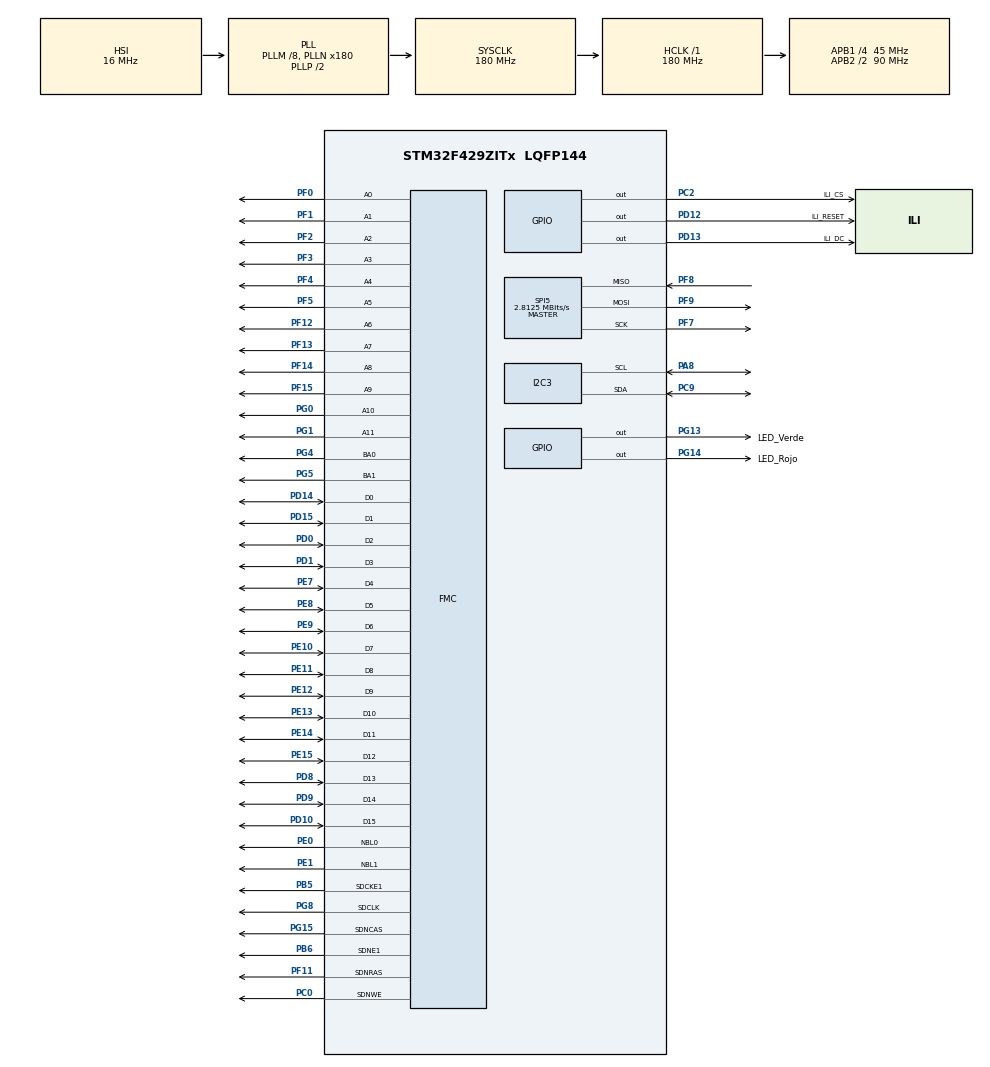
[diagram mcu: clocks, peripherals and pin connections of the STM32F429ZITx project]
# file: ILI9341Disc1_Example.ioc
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Dma.Request0=SPI5_TX
Dma.SPI5_TX.0.Direction=DMA_MEMORY_TO_PERIPH
Dma.SPI5_TX.0.FIFOMode=DMA_FIFOMODE_DISABLE
Dma.SPI5_TX.0.Instance=DMA2_Stream6
Dma.SPI5_TX.0.MemDataAlignment=DMA_MDATAALIGN_HALFWORD
Dma.SPI5_TX.0.MemInc=DMA_MINC_ENABLE
Dma.SPI5_TX.0.Mode=DMA_NORMAL
Dma.SPI5_TX.0.PeriphDataAlignment=DMA_PDATAALIGN_HALFWORD
Dma.SPI5_TX.0.PeriphInc=DMA_PINC_DISABLE
Dma.SPI5_TX.0.Priority=DMA_PRIORITY_HIGH
FMC.CASLatency2=FMC_SDRAM_CAS_LATENCY_3
FMC.ExitSelfRefreshDelay2=7
FMC.LoadToActiveDelay2=2
FMC.RCDDelay2=2
FMC.RPDelay1=2
FMC.RPDelay2=2
FMC.ReadPipeDelay1=FMC_SDRAM_RPIPE_DELAY_1
FMC.ReadPipeDelay2=FMC_SDRAM_RPIPE_DELAY_1
FMC.RowCycleDelay1=7
FMC.RowCycleDelay2=7
FMC.SDClockPeriod1=FMC_SDRAM_CLOCK_PERIOD_2
FMC.SDClockPeriod2=FMC_SDRAM_CLOCK_PERIOD_2
FMC.SelfRefreshTime2=4
FMC.WriteRecoveryTime2=3
Mcu.Family=STM32F4
Mcu.Name=STM32F429ZITx
Mcu.Package=LQFP144
NVIC.DMA2_Stream6_IRQn=true\:0\:0\:false\:false\:true\:false\:true\:true
NVIC.PriorityGroup=NVIC_PRIORITYGROUP_4
PA13.Mode=Serial_Wire
PA13.Signal=SYS_JTMS-SWDIO
PA14.Mode=Serial_Wire
PA14.Signal=SYS_JTCK-SWCLK
PA8.Mode=I2C
PA8.Signal=I2C3_SCL
PB5.Mode=SdramChipSelect2_2
PB5.Signal=FMC_SDCKE1
PB6.Mode=SdramChipSelect2_2
PB6.Signal=FMC_SDNE1
PC0.Signal=FMC_SDNWE
PC2.GPIO_Label=ILI_CS
PC2.Signal=GPIO_Output
PC9.Mode=I2C
PC9.Signal=I2C3_SDA
PD0.Signal=FMC_D2_DA2
PD1.Signal=FMC_D3_DA3
PD10.Signal=FMC_D15_DA15
PD12.GPIO_Label=ILI_RESET
PD12.PinState=GPIO_PIN_SET
PD12.Signal=GPIO_Output
PD13.GPIO_Label=ILI_DC
PD13.PinState=GPIO_PIN_SET
PD13.Signal=GPIO_Output
PD14.Signal=FMC_D0_DA0
PD15.Signal=FMC_D1_DA1
PD8.Signal=FMC_D13_DA13
PD9.Signal=FMC_D14_DA14
PE0.Signal=FMC_NBL0
PE1.Signal=FMC_NBL1
PE10.Signal=FMC_D7_DA7
PE11.Signal=FMC_D8_DA8
PE12.Signal=FMC_D9_DA9
PE13.Signal=FMC_D10_DA10
PE14.Signal=FMC_D11_DA11
PE15.Signal=FMC_D12_DA12
PE7.Signal=FMC_D4_DA4
PE8.Signal=FMC_D5_DA5
PE9.Signal=FMC_D6_DA6
PF0.Signal=FMC_A0
PF1.Signal=FMC_A1
PF11.Signal=FMC_SDNRAS
PF12.Signal=FMC_A6
PF13.Signal=FMC_A7
PF14.Signal=FMC_A8
PF15.Signal=FMC_A9
PF2.Signal=FMC_A2
PF3.Signal=FMC_A3
PF4.Signal=FMC_A4
PF5.Signal=FMC_A5
PF7.Mode=Full_Duplex_Master
PF7.Signal=SPI5_SCK
PF8.Mode=Full_Duplex_Master
PF8.Signal=SPI5_MISO
PF9.Mode=Full_Duplex_Master
PF9.Signal=SPI5_MOSI
PG0.Signal=FMC_A10
PG1.Signal=FMC_A11
PG13.GPIO_Label=LED_Verde
PG13.Signal=GPIO_Output
PG14.GPIO_Label=LED_Rojo
PG14.Signal=GPIO_Output
PG15.Signal=FMC_SDNCAS
PG4.Signal=FMC_A14_BA0
PG5.Signal=FMC_A15_BA1
PG8.Signal=FMC_SDCLK
PH0/OSC_IN.Mode=HSE-External-Oscillator
PH0/OSC_IN.Signal=RCC_OSC_IN
PH1/OSC_OUT.Mode=HSE-External-Oscillator
PH1/OSC_OUT.Signal=RCC_OSC_OUT
ProjectManager.HeapSize=0x200
ProjectManager.StackSize=0x400
ProjectManager.TargetToolchain=STM32CubeIDE
RCC.48MHZClocksFreq_Value=90000000
RCC.AHBFreq_Value=180000000
RCC.APB1CLKDivider=RCC_HCLK_DIV4
RCC.APB1Freq_Value=45000000
RCC.APB1TimFreq_Value=90000000
RCC.APB2CLKDivider=RCC_HCLK_DIV2
RCC.APB2Freq_Value=90000000
RCC.APB2TimFreq_Value=180000000
RCC.CortexFreq_Value=180000000
RCC.HCLKFreq_Value=180000000
RCC.HSE_VALUE=25000000
RCC.HSI_VALUE=16000000
RCC.LSE_VALUE=32768
RCC.PLLM=8
RCC.PLLN=180
RCC.SYSCLKFreq_VALUE=180000000
RCC.SYSCLKSource=RCC_SYSCLKSOURCE_PLLCLK
RCC.VCOOutputFreq_Value=360000000
SH.FMC_A0.0=FMC_A0,12b-sda2
SH.FMC_A1.0=FMC_A1,12b-sda2
SH.FMC_A10.0=FMC_A10,12b-sda2
SH.FMC_A11.0=FMC_A11,12b-sda2
SH.FMC_A14_BA0.0=FMC_BA0,FourSdramBanks2
SH.FMC_A15_BA1.0=FMC_BA1,FourSdramBanks2
SH.FMC_A2.0=FMC_A2,12b-sda2
SH.FMC_A3.0=FMC_A3,12b-sda2
SH.FMC_A4.0=FMC_A4,12b-sda2
SH.FMC_A5.0=FMC_A5,12b-sda2
SH.FMC_A6.0=FMC_A6,12b-sda2
SH.FMC_A7.0=FMC_A7,12b-sda2
SH.FMC_A8.0=FMC_A8,12b-sda2
SH.FMC_A9.0=FMC_A9,12b-sda2
SH.FMC_D0_DA0.0=FMC_D0,sd-16b-d2
SH.FMC_D10_DA10.0=FMC_D10,sd-16b-d2
SH.FMC_D11_DA11.0=FMC_D11,sd-16b-d2
SH.FMC_D12_DA12.0=FMC_D12,sd-16b-d2
SH.FMC_D13_DA13.0=FMC_D13,sd-16b-d2
SH.FMC_D14_DA14.0=FMC_D14,sd-16b-d2
SH.FMC_D15_DA15.0=FMC_D15,sd-16b-d2
SH.FMC_D1_DA1.0=FMC_D1,sd-16b-d2
SH.FMC_D2_DA2.0=FMC_D2,sd-16b-d2
SH.FMC_D3_DA3.0=FMC_D3,sd-16b-d2
SH.FMC_D4_DA4.0=FMC_D4,sd-16b-d2
SH.FMC_D5_DA5.0=FMC_D5,sd-16b-d2
SH.FMC_D6_DA6.0=FMC_D6,sd-16b-d2
SH.FMC_D7_DA7.0=FMC_D7,sd-16b-d2
SH.FMC_D8_DA8.0=FMC_D8,sd-16b-d2
SH.FMC_D9_DA9.0=FMC_D9,sd-16b-d2
SH.FMC_NBL0.0=FMC_NBL0,Sd2ByteEnable2
SH.FMC_NBL1.0=FMC_NBL1,Sd2ByteEnable2
SH.FMC_SDCLK.0=FMC_SDCLK,12b-sda2
SH.FMC_SDNCAS.0=FMC_SDNCAS,12b-sda2
SH.FMC_SDNRAS.0=FMC_SDNRAS,12b-sda2
SH.FMC_SDNWE.0=FMC_SDNWE,12b-sda2
SPI5.BaudRatePrescaler=SPI_BAUDRATEPRESCALER_32
SPI5.CalculateBaudRate=2.8125 MBits/s
SPI5.Direction=SPI_DIRECTION_2LINES
SPI5.Mode=SPI_MODE_MASTER
SPI5.VirtualType=VM_MASTER
VP_DMA2D_VS_DMA2D.Mode=DMA2D_Activate
board=custom

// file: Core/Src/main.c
/* USER CODE BEGIN Header */
/**
 ******************************************************************************
 * @file           : main.c
 * @brief          : Main program body
 ******************************************************************************
 * @attention
 *
 * Copyright (c) 2026 STMicroelectronics.
 * All rights reserved.
 *
 * This software is licensed under terms that can be found in the LICENSE file
 * in the root directory of this software component.
 * If no LICENSE file comes with this software, it is provided AS-IS.
 *
 ******************************************************************************
 */
/* USER CODE END Header */
#include "main.h"

/* USER CODE BEGIN Includes */
#include "ILI9341_Disc1.h"
#include "ErisRudeus.h"
/* USER CODE END Includes */

/* USER CODE BEGIN PD */
/* -- Parámetros de la batería de pruebas -- */
#define TEST_TOUCH_MS   10000U   /**< Ventana interactiva de ILI9341_TestTouch()                    */
#define TEST_ICON_W        48U   /**< Ancho del icono de prueba para DisplayImage() y BlitImage()   */
#define TEST_ICON_H        48U   /**< Alto del icono de prueba                                      */

/* USER CODE END PD */

/* USER CODE BEGIN PM */
#define ILI_CHECK(x)  do { if ((x) != ILI9341_OK) { Error_Handler(); } } while (0)
/* Para los tests de error: la llamada debe devolver exactamente el estado esperado */
#define ILI_EXPECT(x, st)  do { if ((x) != (st)) { Error_Handler(); } } while (0)

/* USER CODE END PM */

DMA2D_HandleTypeDef hdma2d;

I2C_HandleTypeDef hi2c3;

SPI_HandleTypeDef hspi5;
DMA_HandleTypeDef hdma_spi5_tx;

SDRAM_HandleTypeDef hsdram2;

/* USER CODE BEGIN PV */
ILI9341_Status_t status;

/* Icono de prueba (degradado RGB565) para DisplayImage() y BlitImage(); lo rellena ILI9341_TestMakeIcon() */
static uint16_t Test_Icon[TEST_ICON_W * TEST_ICON_H];

/* Bitmaps 1bpp (MSB primero, (w + 7) / 8 bytes por fila) */

/* Carita 16x16: ancho múltiplo de 8 -> 2 bytes por fila */
static const uint8_t bmpSmiley[16U * 2U] = {
	0x07, 0xE0,  0x18, 0x18,  0x20, 0x04,  0x40, 0x02,
	0x4C, 0x32,  0x8C, 0x31,  0x80, 0x01,  0x80, 0x01,
	0x80, 0x01,  0x90, 0x09,  0x88, 0x11,  0x47, 0xE2,
	0x40, 0x02,  0x20, 0x04,  0x18, 0x18,  0x07, 0xE0,
};

/* "F" de 12x12: asimétrica para detectar espejos/rotaciones. Ancho no múltiplo
 * de 8 -> 2 bytes por fila; los 4 bits de relleno (0x0F) van en 1 a propósito:
 * si aparecen columnas extra a la derecha de la F, el relleno no se ignora. */
static const uint8_t bmpF[12U * 2U] = {
	0xFF, 0xFF,
	0xFF, 0xFF,
	0xC0, 0x0F,
	0xC0, 0x0F,
	0xFF, 0x0F,
	0xFF, 0x0F,
	0xC0, 0x0F,
	0xC0, 0x0F,
	0xC0, 0x0F,
	0xC0, 0x0F,
	0xC0, 0x0F,
	0xC0, 0x0F,
};
/* USER CODE END PV */

void SystemClock_Config(void);
static void MX_GPIO_Init(void);
static void MX_DMA_Init(void);
static void MX_DMA2D_Init(void);
static void MX_FMC_Init(void);
static void MX_I2C3_Init(void);
static void MX_SPI5_Init(void);
/* USER CODE BEGIN PFP */
static void ILI9341_TestSuite(void);
static void ILI9341_TestMakeIcon(void);
static void ILI9341_TestFonts(void);
static void ILI9341_TestPutc(void);
static void ILI9341_TestTexto(void);
static void ILI9341_TestPixeles(void);
static void ILI9341_TestLineas(void);
static void ILI9341_TestRectangulos(void);
static void ILI9341_TestTriangulos(void);
static void ILI9341_TestCirculos(void);
static void ILI9341_TestElipses(void);
static void ILI9341_TestArc(void);
static void ILI9341_TestBitmap(void);
static void ILI9341_TestRotacion(void);
static void ILI9341_TestImagen(void);
static void ILI9341_TestImageBuffer(void);
static void ILI9341_TestBitmapImageBuffer(void);
static void ILI9341_TestTouch(void);
static void ILI9341_TestErrores(void);
static void ILI9341_TestPreInit(void);
static void ILI9341_TestDeInit(void);
/* USER CODE END PFP */

int main(void)
{

  /* MCU Configuration--------------------------------------------------------*/

  /* Reset of all peripherals, Initializes the Flash interface and the Systick. */
  HAL_Init();

  /* Configure the system clock */
  SystemClock_Config();

  /* Initialize all configured peripherals */
  MX_GPIO_Init();
  MX_DMA_Init();
  MX_DMA2D_Init();
  MX_FMC_Init();
  MX_I2C3_Init();
  MX_SPI5_Init();
  /* USER CODE BEGIN 2 */
  ILI9341_TestPreInit();

  /* SPI5 + I2C3 + SDRAM + DMA2D: el SPI debe llegar lento (2.8 Mbit/s), Init lo sube solo */
  status = ILI9341_Init(&hspi5, &hi2c3, &hsdram2, &hdma2d);
  if (status != ILI9341_OK)
  {
	  Error_Handler();
  }
  else
  {
	  HAL_GPIO_WritePin(LED_Verde_GPIO_Port, LED_Verde_Pin, GPIO_PIN_SET);
  }
  /* USER CODE END 2 */

  /* Infinite loop */
  /* USER CODE BEGIN WHILE */
  while (1)
  {
	  ILI9341_TestSuite();
    /* USER CODE END WHILE */

  }
}

void SystemClock_Config(void)
{
  RCC_OscInitTypeDef RCC_OscInitStruct = {0};
  RCC_ClkInitTypeDef RCC_ClkInitStruct = {0};

  /** Configure the main internal regulator output voltage
  */
  __HAL_RCC_PWR_CLK_ENABLE();
  __HAL_PWR_VOLTAGESCALING_CONFIG(PWR_REGULATOR_VOLTAGE_SCALE1);

  /** Initializes the RCC Oscillators according to the specified parameters
  * in the RCC_OscInitTypeDef structure.
  */
  RCC_OscInitStruct.OscillatorType = RCC_OSCILLATORTYPE_HSI;
  RCC_OscInitStruct.HSIState = RCC_HSI_ON;
  RCC_OscInitStruct.HSICalibrationValue = RCC_HSICALIBRATION_DEFAULT;
  RCC_OscInitStruct.PLL.PLLState = RCC_PLL_ON;
  RCC_OscInitStruct.PLL.PLLSource = RCC_PLLSOURCE_HSI;
  RCC_OscInitStruct.PLL.PLLM = 8;
  RCC_OscInitStruct.PLL.PLLN = 180;
  RCC_OscInitStruct.PLL.PLLP = RCC_PLLP_DIV2;
  RCC_OscInitStruct.PLL.PLLQ = 4;
  if (HAL_RCC_OscConfig(&RCC_OscInitStruct) != HAL_OK)
  {
    Error_Handler();
  }

  /** Activate the Over-Drive mode
  */
  if (HAL_PWREx_EnableOverDrive() != HAL_OK)
  {
    Error_Handler();
  }

  /** Initializes the CPU, AHB and APB buses clocks
  */
  RCC_ClkInitStruct.ClockType = RCC_CLOCKTYPE_HCLK|RCC_CLOCKTYPE_SYSCLK
                              |RCC_CLOCKTYPE_PCLK1|RCC_CLOCKTYPE_PCLK2;
  RCC_ClkInitStruct.SYSCLKSource = RCC_SYSCLKSOURCE_PLLCLK;
  RCC_ClkInitStruct.AHBCLKDivider = RCC_SYSCLK_DIV1;
  RCC_ClkInitStruct.APB1CLKDivider = RCC_HCLK_DIV4;
  RCC_ClkInitStruct.APB2CLKDivider = RCC_HCLK_DIV2;

  if (HAL_RCC_ClockConfig(&RCC_ClkInitStruct, FLASH_LATENCY_5) != HAL_OK)
  {
    Error_Handler();
  }
}

static void MX_DMA2D_Init(void)
{

  hdma2d.Instance = DMA2D;
  hdma2d.Init.Mode = DMA2D_M2M;
  hdma2d.Init.ColorMode = DMA2D_OUTPUT_ARGB8888;
  hdma2d.Init.OutputOffset = 0;
  hdma2d.LayerCfg[1].InputOffset = 0;
  hdma2d.LayerCfg[1].InputColorMode = DMA2D_INPUT_ARGB8888;
  hdma2d.LayerCfg[1].AlphaMode = DMA2D_NO_MODIF_ALPHA;
  hdma2d.LayerCfg[1].InputAlpha = 0;
  if (HAL_DMA2D_Init(&hdma2d) != HAL_OK)
  {
    Error_Handler();
  }
  if (HAL_DMA2D_ConfigLayer(&hdma2d, 1) != HAL_OK)
  {
    Error_Handler();
  }

}

static void MX_I2C3_Init(void)
{

  hi2c3.Instance = I2C3;
  hi2c3.Init.ClockSpeed = 100000;
  hi2c3.Init.DutyCycle = I2C_DUTYCYCLE_2;
  hi2c3.Init.OwnAddress1 = 0;
  hi2c3.Init.AddressingMode = I2C_ADDRESSINGMODE_7BIT;
  hi2c3.Init.DualAddressMode = I2C_DUALADDRESS_DISABLE;
  hi2c3.Init.OwnAddress2 = 0;
  hi2c3.Init.GeneralCallMode = I2C_GENERALCALL_DISABLE;
  hi2c3.Init.NoStretchMode = I2C_NOSTRETCH_DISABLE;
  if (HAL_I2C_Init(&hi2c3) != HAL_OK)
  {
    Error_Handler();
  }

  /** Configure Analogue filter
  */
  if (HAL_I2CEx_ConfigAnalogFilter(&hi2c3, I2C_ANALOGFILTER_ENABLE) != HAL_OK)
  {
    Error_Handler();
  }

  /** Configure Digital filter
  */
  if (HAL_I2CEx_ConfigDigitalFilter(&hi2c3, 0) != HAL_OK)
  {
    Error_Handler();
  }

}

static void MX_SPI5_Init(void)
{

  /* SPI5 parameter configuration*/
  hspi5.Instance = SPI5;
  hspi5.Init.Mode = SPI_MODE_MASTER;
  hspi5.Init.Direction = SPI_DIRECTION_2LINES;
  hspi5.Init.DataSize = SPI_DATASIZE_8BIT;
  hspi5.Init.CLKPolarity = SPI_POLARITY_LOW;
  hspi5.Init.CLKPhase = SPI_PHASE_1EDGE;
  hspi5.Init.NSS = SPI_NSS_SOFT;
  hspi5.Init.BaudRatePrescaler = SPI_BAUDRATEPRESCALER_32;
  hspi5.Init.FirstBit = SPI_FIRSTBIT_MSB;
  hspi5.Init.TIMode = SPI_TIMODE_DISABLE;
  hspi5.Init.CRCCalculation = SPI_CRCCALCULATION_DISABLE;
  hspi5.Init.CRCPolynomial = 10;
  if (HAL_SPI_Init(&hspi5) != HAL_OK)
  {
    Error_Handler();
  }

}

static void MX_DMA_Init(void)
{

  /* DMA controller clock enable */
  __HAL_RCC_DMA2_CLK_ENABLE();

  /* DMA interrupt init */
  /* DMA2_Stream6_IRQn interrupt configuration */
  HAL_NVIC_SetPriority(DMA2_Stream6_IRQn, 0, 0);
  HAL_NVIC_EnableIRQ(DMA2_Stream6_IRQn);

}

/* FMC initialization function */
static void MX_FMC_Init(void)
{

  FMC_SDRAM_TimingTypeDef SdramTiming = {0};

  /** Perform the SDRAM2 memory initialization sequence
  */
  hsdram2.Instance = FMC_SDRAM_DEVICE;
  /* hsdram2.Init */
  hsdram2.Init.SDBank = FMC_SDRAM_BANK2;
  hsdram2.Init.ColumnBitsNumber = FMC_SDRAM_COLUMN_BITS_NUM_8;
  hsdram2.Init.RowBitsNumber = FMC_SDRAM_ROW_BITS_NUM_12;
  hsdram2.Init.MemoryDataWidth = FMC_SDRAM_MEM_BUS_WIDTH_16;
  hsdram2.Init.InternalBankNumber = FMC_SDRAM_INTERN_BANKS_NUM_4;
  hsdram2.Init.CASLatency = FMC_SDRAM_CAS_LATENCY_3;
  hsdram2.Init.WriteProtection = FMC_SDRAM_WRITE_PROTECTION_DISABLE;
  hsdram2.Init.SDClockPeriod = FMC_SDRAM_CLOCK_PERIOD_2;
  hsdram2.Init.ReadBurst = FMC_SDRAM_RBURST_DISABLE;
  hsdram2.Init.ReadPipeDelay = FMC_SDRAM_RPIPE_DELAY_1;
  /* SdramTiming */
  SdramTiming.LoadToActiveDelay = 2;
  SdramTiming.ExitSelfRefreshDelay = 7;
  SdramTiming.SelfRefreshTime = 4;
  SdramTiming.RowCycleDelay = 7;
  SdramTiming.WriteRecoveryTime = 3;
  SdramTiming.RPDelay = 2;
  SdramTiming.RCDDelay = 2;

  if (HAL_SDRAM_Init(&hsdram2, &SdramTiming) != HAL_OK)
  {
    Error_Handler( );
  }

}

static void MX_GPIO_Init(void)
{
  GPIO_InitTypeDef GPIO_InitStruct = {0};

  /* GPIO Ports Clock Enable */
  __HAL_RCC_GPIOF_CLK_ENABLE();
  __HAL_RCC_GPIOH_CLK_ENABLE();
  __HAL_RCC_GPIOC_CLK_ENABLE();
  __HAL_RCC_GPIOG_CLK_ENABLE();
  __HAL_RCC_GPIOE_CLK_ENABLE();
  __HAL_RCC_GPIOD_CLK_ENABLE();
  __HAL_RCC_GPIOA_CLK_ENABLE();
  __HAL_RCC_GPIOB_CLK_ENABLE();

  /*Configure GPIO pin Output Level */
  HAL_GPIO_WritePin(ILI_CS_GPIO_Port, ILI_CS_Pin, GPIO_PIN_RESET);

  /*Configure GPIO pin Output Level */
  HAL_GPIO_WritePin(GPIOD, ILI_RESET_Pin|ILI_DC_Pin, GPIO_PIN_SET);

  /*Configure GPIO pin Output Level */
  HAL_GPIO_WritePin(GPIOG, LED_Verde_Pin|LED_Rojo_Pin, GPIO_PIN_RESET);

  /*Configure GPIO pin : ILI_CS_Pin */
  GPIO_InitStruct.Pin = ILI_CS_Pin;
  GPIO_InitStruct.Mode = GPIO_MODE_OUTPUT_PP;
  GPIO_InitStruct.Pull = GPIO_NOPULL;
  GPIO_InitStruct.Speed = GPIO_SPEED_FREQ_LOW;
  HAL_GPIO_Init(ILI_CS_GPIO_Port, &GPIO_InitStruct);

  /*Configure GPIO pins : ILI_RESET_Pin ILI_DC_Pin */
  GPIO_InitStruct.Pin = ILI_RESET_Pin|ILI_DC_Pin;
  GPIO_InitStruct.Mode = GPIO_MODE_OUTPUT_PP;
  GPIO_InitStruct.Pull = GPIO_NOPULL;
  GPIO_InitStruct.Speed = GPIO_SPEED_FREQ_LOW;
  HAL_GPIO_Init(GPIOD, &GPIO_InitStruct);

  /*Configure GPIO pins : LED_Verde_Pin LED_Rojo_Pin */
  GPIO_InitStruct.Pin = LED_Verde_Pin|LED_Rojo_Pin;
  GPIO_InitStruct.Mode = GPIO_MODE_OUTPUT_PP;
  GPIO_InitStruct.Pull = GPIO_NOPULL;
  GPIO_InitStruct.Speed = GPIO_SPEED_FREQ_LOW;
  HAL_GPIO_Init(GPIOG, &GPIO_InitStruct);

}

/* USER CODE BEGIN 4 */

static void ILI9341_TestSuite(void)
{
	ILI9341_TestFonts();
	HAL_Delay(2000);

	ILI9341_TestPutc();
	HAL_Delay(2000);

	ILI9341_TestTexto();
	HAL_Delay(2000);

	ILI9341_TestPixeles();
	HAL_Delay(2000);

	ILI9341_TestLineas();
	HAL_Delay(2000);

	ILI9341_TestRectangulos();
	HAL_Delay(2000);

	ILI9341_TestTriangulos();
	HAL_Delay(2000);

	ILI9341_TestCirculos();
	HAL_Delay(2000);

	ILI9341_TestElipses();
	HAL_Delay(2000);

	ILI9341_TestArc();
	HAL_Delay(2000);

	ILI9341_TestBitmap();
	HAL_Delay(2000);

	ILI9341_TestRotacion();
	HAL_Delay(2000);

	ILI9341_TestImagen();
	HAL_Delay(2000);

	ILI9341_TestImageBuffer();
	HAL_Delay(2000);

	ILI9341_TestBitmapImageBuffer();
	HAL_Delay(2000);

	ILI9341_TestTouch();
	HAL_Delay(2000);

	ILI9341_TestErrores();
	HAL_Delay(2000);

	ILI9341_TestDeInit();
	HAL_Delay(2000);
}

static void ILI9341_TestMakeIcon(void)
{
	/* Degradado RGB565 de 48x48: R crece con x, G con y, B en diagonal */
	for (uint16_t y = 0; y < TEST_ICON_H; y++)
	{
		for (uint16_t x = 0; x < TEST_ICON_W; x++)
		{
			Test_Icon[(y * TEST_ICON_W) + x] =
					ILI9341_Color565((uint8_t)(x * 5U), (uint8_t)(y * 5U), (uint8_t)(((x + y) * 2U) & 0xFFU));
		}
	}
}

static void ILI9341_TestFonts(void)
{
	const uint16_t bg = ILI9341_COLOR_BLACK;
	uint16_t tw, th;

	/* -- Texto con las tres fuentes y colores distintos (16x26 cabe 15 caracteres en 240 px) -- */
	ILI_CHECK(ILI9341_Fill(bg));
	ILI_CHECK(ILI9341_Puts(0, 0, "ILI9341 TEST", &LCD_Font_16x26, ILI9341_COLOR_WHITE, bg));
	ILI_CHECK(ILI9341_Puts(0, 34, "Font 11x18", &LCD_Font_11x18, ILI9341_COLOR_YELLOW, bg));
	ILI_CHECK(ILI9341_Puts(0, 60, "Font 7x10", &LCD_Font_7x10, ILI9341_COLOR_CYAN, bg));

	/* -- '\n' baja una línea (FontHeight + 1) y vuelve a la columna inicial -- */
	ILI_CHECK(ILI9341_Puts(0, 76, "ABCDEFGHIJKLMNOPQRSTUVWXYZ\nabcdefghijklmnopqrstuvwxyz\n0123456789 !?#$%&()*+-=",
						   &LCD_Font_7x10, ILI9341_COLOR_WHITE, bg));

	/* -- Sin '\n': el texto salta de línea solo al llegar al borde derecho (caben 21 caracteres de 11 px) -- */
	ILI_CHECK(ILI9341_Puts(0, 120, "0123456789ABCDEFGHIJKLMNOPQRSTUVWXYZ", &LCD_Font_11x18, ILI9341_COLOR_GREEN, bg));

	/* Esquina inferior derecha: verifica GetStringSize y los bordes */
	ILI9341_GetStringSize("Fin", &LCD_Font_11x18, &tw, &th);
	ILI_CHECK(ILI9341_Puts(ILI9341_WIDTH - tw, ILI9341_HEIGHT - th, "Fin",
						   &LCD_Font_11x18, ILI9341_COLOR_BLACK, ILI9341_COLOR_GREEN));
}

static void ILI9341_TestPutc(void)
{
	const uint16_t bg = ILI9341_COLOR_BLACK;
	const uint16_t w  = ILI9341_WIDTH;
	const uint16_t h  = ILI9341_HEIGHT;
	LCD_FontDef_t* f  = &LCD_Font_11x18;

	/* -- Caracteres sueltos colocados a mano, avanzando FontWidth columnas -- */
	ILI_CHECK(ILI9341_Fill(bg));
	for (char c = 'A'; c <= 'J'; c++)
	{
		ILI_CHECK(ILI9341_Putc((uint16_t)(c - 'A') * f->FontWidth, 0, c, f, ILI9341_COLOR_WHITE, bg));
	}

	/* -- Salto automático: la celda no cabe a 3 px del borde derecho -> sale en x = 0, y = 30 + FontHeight -- */
	ILI_CHECK(ILI9341_Putc(w - 3, 30, 'W', f, ILI9341_COLOR_YELLOW, bg));

	/* -- Última celda que cabe, pegada a la esquina inferior derecha -- */
	ILI_CHECK(ILI9341_Putc(w - f->FontWidth, h - f->FontHeight, 'Z', f, ILI9341_COLOR_BLACK, ILI9341_COLOR_GREEN));

	/* -- No imprimibles: se ignoran y devuelven OK sin pintar (no debe verse ningún bloque rojo) -- */
	ILI_CHECK(ILI9341_Putc(0, 100, '\n', f, ILI9341_COLOR_RED, ILI9341_COLOR_RED));
	ILI_CHECK(ILI9341_Putc(0, 100, (char)127, f, ILI9341_COLOR_RED, ILI9341_COLOR_RED));

	/* -- Errores: fuente NULL -- */
	ILI_EXPECT(ILI9341_Putc(0, 0, 'X', NULL, ILI9341_COLOR_RED, bg), ILI9341_INVALID_PARAM);
}

static void ILI9341_TestTexto(void)
{
	const uint16_t w  = ILI9341_WIDTH;
	const uint16_t bg = ILI9341_COLOR_WHITE;
	LCD_FontDef_t* f  = &LCD_Font_11x18;
	uint16_t tw, th;

	ILI_CHECK(ILI9341_Fill(bg));

	/* -- Printf con argumentos variádicos (sin %f: el proyecto no enlaza printf de float) -- */
	ILI_CHECK(ILI9341_Printf(4, 4, f, ILI9341_COLOR_BLACK, bg, "%s = %d (0x%04X)", "id", -42, 0xBEEFU));

	/* -- GetStringSize: el recuadro rojo debe rodear la cadena sin dejar holgura -- */
	ILI9341_GetStringSize("Hola ILI9341", &LCD_Font_16x26, &tw, &th);
	ILI_CHECK(ILI9341_Puts(4, 40, "Hola ILI9341", &LCD_Font_16x26, ILI9341_COLOR_BLUE, bg));
	ILI_CHECK(ILI9341_DrawRectangle(3, 39, 4 + tw, 40 + th, ILI9341_COLOR_RED));
	ILI_CHECK(ILI9341_Printf(4, 76, f, ILI9341_COLOR_DARKRED, bg, "size = %u x %u px", tw, th));

	/* -- PutsAligned: las tres alineaciones dentro de la región [4, w - 5] (recuadro gris) -- */
	ILI_CHECK(ILI9341_DrawRectangle(3, 104, w - 4, 182, ILI9341_COLOR_GRAY));
	ILI_CHECK(ILI9341_PutsAligned(4, w - 5, 108, ILI9341_ALIGN_LEFT,   "LEFT",   f, ILI9341_COLOR_BLACK, bg));
	ILI_CHECK(ILI9341_PutsAligned(4, w - 5, 132, ILI9341_ALIGN_CENTER, "CENTER", f, ILI9341_COLOR_BLACK, bg));
	ILI_CHECK(ILI9341_PutsAligned(4, w - 5, 156, ILI9341_ALIGN_RIGHT,  "RIGHT",  f, ILI9341_COLOR_BLACK, bg));

	/* -- PrintfAligned: formato + alineación -- */
	ILI_CHECK(ILI9341_PrintfAligned(4, w - 5, 200, ILI9341_ALIGN_CENTER, f, ILI9341_COLOR_DARKGREEN, bg,
									"paso %u/%u", 1U, 3U));
	ILI_CHECK(ILI9341_PrintfAligned(4, w - 5, 226, ILI9341_ALIGN_RIGHT, f, ILI9341_COLOR_DARKGREEN, bg,
									"listo %u%%", 100U));

	/* -- Errores: región invertida (x1 < x0), cadena NULL y formato NULL -- */
	ILI_EXPECT(ILI9341_PutsAligned(100, 10, 270, ILI9341_ALIGN_LEFT, "X", f, ILI9341_COLOR_BLACK, bg), ILI9341_INVALID_PARAM);
	ILI_EXPECT(ILI9341_PrintfAligned(100, 10, 270, ILI9341_ALIGN_LEFT, f, ILI9341_COLOR_BLACK, bg, "X"), ILI9341_INVALID_PARAM);
	ILI_EXPECT(ILI9341_PutsAligned(4, w - 5, 270, ILI9341_ALIGN_LEFT, NULL, f, ILI9341_COLOR_BLACK, bg), ILI9341_INVALID_PARAM);
	ILI_EXPECT(ILI9341_Printf(4, 270, f, ILI9341_COLOR_BLACK, bg, NULL), ILI9341_INVALID_PARAM);
}

static void ILI9341_TestPixeles(void)
{
	const uint16_t w = ILI9341_WIDTH;
	const uint16_t h = ILI9341_HEIGHT;

	/* -- Rejilla de puntos cada 8 px con un degradado generado con Color565 (R crece con x, G con y) -- */
	ILI_CHECK(ILI9341_Fill(ILI9341_COLOR_BLACK));
	for (uint16_t y = 0; y < h; y += 8)
	{
		for (uint16_t x = 0; x < w; x += 8)
		{
			ILI_CHECK(ILI9341_DrawPixel(x, y, ILI9341_Color565((uint8_t)x, (uint8_t)y, 128U)));
		}
	}

	/* -- Un píxel blanco en cada esquina: deben verse los cuatro, pegados al borde -- */
	ILI_CHECK(ILI9341_DrawPixel(0, 0, ILI9341_COLOR_WHITE));
	ILI_CHECK(ILI9341_DrawPixel(w - 1, 0, ILI9341_COLOR_WHITE));
	ILI_CHECK(ILI9341_DrawPixel(0, h - 1, ILI9341_COLOR_WHITE));
	ILI_CHECK(ILI9341_DrawPixel(w - 1, h - 1, ILI9341_COLOR_WHITE));
}

static void ILI9341_TestLineas(void)
{
	const uint16_t w = ILI9341_WIDTH;
	const uint16_t h = ILI9341_HEIGHT;

	/* -- Lineas: marco, diagonales y ejes centrales -- */
	ILI_CHECK(ILI9341_Fill(ILI9341_COLOR_BLACK));
	ILI_CHECK(ILI9341_DrawRectangle(0, 0, w - 1, h - 1, ILI9341_COLOR_WHITE));
	ILI_CHECK(ILI9341_DrawLine(0, 0, w - 1, h - 1, ILI9341_COLOR_RED));
	ILI_CHECK(ILI9341_DrawLine(0, h - 1, w - 1, 0, ILI9341_COLOR_GREEN));
	ILI_CHECK(ILI9341_DrawFastHLine(0, h / 2, w, ILI9341_COLOR_BLUE));
	ILI_CHECK(ILI9341_DrawFastVLine(w / 2, 0, h, ILI9341_COLOR_YELLOW));

	/* -- Líneas con grosor: horizontal, vertical y diagonal -- */
	ILI_CHECK(ILI9341_DrawThickLine(20, 40, w - 21, 40, 8, ILI9341_COLOR_ORANGE));
	ILI_CHECK(ILI9341_DrawThickLine(30, 70, 30, h - 70, 8, ILI9341_COLOR_PINK));
	ILI_CHECK(ILI9341_DrawThickLine(50, h - 40, w - 30, h / 2 + 40, 12, ILI9341_COLOR_GOLD));

	/* -- Recorte: línea que sobresale 20 px por cada lado y línea con ancho negativo (sin error) -- */
	ILI_CHECK(ILI9341_DrawFastHLine(-20, h / 4, w + 40, ILI9341_COLOR_MAGENTA));
	ILI_CHECK(ILI9341_DrawFastHLine(w - 1, 3 * h / 4, -(int16_t)w, ILI9341_COLOR_CYAN));
	ILI_CHECK(ILI9341_DrawFastVLine(w / 4, -20, h + 40, ILI9341_COLOR_LIME));
	ILI_CHECK(ILI9341_DrawFastVLine(3 * w / 4, h - 1, -(int16_t)h, ILI9341_COLOR_VIOLET));
}

static void ILI9341_TestRectangulos(void)
{
	const uint16_t w  = ILI9341_WIDTH;
	const uint16_t h  = ILI9341_HEIGHT;
	const uint16_t cx = w / 2;
	const uint16_t cy = h / 2;

	/* -- Rectangulos en cuatro cuadrantes que tocan los bordes (esquinas inclusivas x0, y0, x1, y1):
	 *    contorno arriba izq., relleno arriba der., redondeado abajo izq. y redondeado relleno abajo der. -- */
	ILI_CHECK(ILI9341_Fill(ILI9341_COLOR_BLACK));
	ILI_CHECK(ILI9341_DrawRectangle(0, 0, cx - 5, cy - 5, ILI9341_COLOR_WHITE));
	ILI_CHECK(ILI9341_DrawFilledRectangle(cx + 4, 0, w - 1, cy - 5, ILI9341_COLOR_RED));
	ILI_CHECK(ILI9341_DrawRoundRect(0, cy + 4, cx - 5, h - 1, 20, ILI9341_COLOR_GREEN));
	ILI_CHECK(ILI9341_DrawFilledRoundRect(cx + 4, cy + 4, w - 1, h - 1, 20, ILI9341_COLOR_BLUE));

	/* -- Radios especiales: r = 0 equivale a DrawRectangle (marco blanco dentro del rojo) y un radio mayor
	 *    que la mitad del lado menor se recorta solo (queda una píldora dentro del contorno blanco) -- */
	ILI_CHECK(ILI9341_DrawRoundRect(cx + 14, 10, w - 11, cy - 15, 0, ILI9341_COLOR_WHITE));
	ILI_CHECK(ILI9341_DrawFilledRoundRect(10, 50, cx - 15, 100, 100, ILI9341_COLOR_TEAL));
}

static void ILI9341_TestTriangulos(void)
{
	const uint16_t w  = ILI9341_WIDTH;
	const uint16_t h  = ILI9341_HEIGHT;
	const uint16_t cy = h / 2;

	/* -- Triangulos: contorno arriba, relleno abajo (vértices en los bordes) -- */
	ILI_CHECK(ILI9341_Fill(ILI9341_COLOR_BLACK));
	ILI_CHECK(ILI9341_DrawTriangle(w / 2, 0, 0, cy - 10, w - 1, cy - 10, ILI9341_COLOR_WHITE));
	ILI_CHECK(ILI9341_DrawFilledTriangle(w / 2, cy + 10, 0, h - 1, w - 1, h - 1, ILI9341_COLOR_MAGENTA));

	/* -- Triángulo degenerado (vértices alineados): se dibuja como una línea y no debe fallar -- */
	ILI_CHECK(ILI9341_DrawFilledTriangle(0, cy, w / 2, cy, w - 1, cy, ILI9341_COLOR_CYAN));
}

static void ILI9341_TestCirculos(void)
{
	const uint16_t w = ILI9341_WIDTH;
	const uint16_t h = ILI9341_HEIGHT;
	const int16_t  r = w / 4 - 3;

	/* -- Circulos: contorno a la izquierda (toca el borde izq.), relleno a la derecha (toca el borde der.) -- */
	ILI_CHECK(ILI9341_Fill(ILI9341_COLOR_BLACK));
	ILI_CHECK(ILI9341_DrawCircle(r, h / 4, r, ILI9341_COLOR_WHITE));
	ILI_CHECK(ILI9341_DrawFilledCircle(w - 1 - r, h / 4, r, ILI9341_COLOR_ORANGE));

	/* -- Anillos concéntricos y radio 0 (no debe colgarse ni fallar) -- */
	for (int16_t rr = 10; rr <= 50; rr += 10)
	{
		ILI_CHECK(ILI9341_DrawCircle(w / 2, 3 * h / 4, rr, ILI9341_Color565((uint8_t)(rr * 5), (uint8_t)(255 - rr * 5), 128U)));
	}
	ILI_CHECK(ILI9341_DrawFilledCircle(w / 2, 3 * h / 4, 0, ILI9341_COLOR_RED));
}

static void ILI9341_TestElipses(void)
{
	const uint16_t w = ILI9341_WIDTH;
	const uint16_t h = ILI9341_HEIGHT;

	const int16_t  rx = w / 4 - 3;
	const int16_t  ry = h / 2 - 1;

	/* -- Elipses: contorno a la izquierda, relleno a la derecha (tocan bordes laterales, superior e inferior) -- */
	ILI_CHECK(ILI9341_Fill(ILI9341_COLOR_BLACK));
	ILI_CHECK(ILI9341_DrawEllipse(rx, h / 2, rx, ry, ILI9341_COLOR_WHITE));
	ILI_CHECK(ILI9341_DrawFilledEllipse(w - 1 - rx, h / 2, rx, ry, ILI9341_COLOR_CYAN));
}

static void ILI9341_TestArc(void)
{
	const uint16_t w = ILI9341_WIDTH;
	const uint16_t h = ILI9341_HEIGHT;

	const int16_t  r1 = w / 4 - 3;
	const int16_t  r2 = r1 / 2;

	/* -- Arcos: contorno a la izquierda (toca el borde izq.), relleno a la derecha (toca el borde der.) -- */
	ILI_CHECK(ILI9341_Fill(ILI9341_COLOR_BLACK));
	ILI_CHECK(ILI9341_DrawArc(r1, h / 2, r1, r2, 0.0f, 270.0f, ILI9341_COLOR_WHITE));
	ILI_CHECK(ILI9341_DrawFilledArc(w - 1 - r1, h / 2, r1, r2, 0.0f, 270.0f, ILI9341_COLOR_GREEN));
}

static void ILI9341_TestBitmap(void)
{
	static const uint16_t colores[] = {
		ILI9341_COLOR_YELLOW, ILI9341_COLOR_RED, ILI9341_COLOR_LIME,
		ILI9341_COLOR_CYAN, ILI9341_COLOR_MAGENTA, ILI9341_COLOR_ORANGE
	};
	const uint16_t w  = ILI9341_WIDTH;
	const uint16_t h  = ILI9341_HEIGHT;
	const uint16_t bw = 12;
	const uint16_t bh = 12;

	/* -- Bitmaps "F": negro sobre blanco en las 4 esquinas (tocan los bordes). A diferencia de otras
	 *    librerías, el fondo es opaco: los bits en 0 se pintan con el color de fondo -- */
	ILI_CHECK(ILI9341_Fill(ILI9341_COLOR_WHITE));
	ILI_CHECK(ILI9341_DrawBitmap1bpp(0, 0, bw, bh, bmpF, ILI9341_COLOR_BLACK, ILI9341_COLOR_WHITE));
	ILI_CHECK(ILI9341_DrawBitmap1bpp(w - bw, 0, bw, bh, bmpF, ILI9341_COLOR_BLACK, ILI9341_COLOR_WHITE));
	ILI_CHECK(ILI9341_DrawBitmap1bpp(0, h - bh, bw, bh, bmpF, ILI9341_COLOR_BLACK, ILI9341_COLOR_WHITE));
	ILI_CHECK(ILI9341_DrawBitmap1bpp(w - bw, h - bh, bw, bh, bmpF, ILI9341_COLOR_BLACK, ILI9341_COLOR_WHITE));

	/* -- Recorte: a medio salir por la derecha y por abajo (sin error) -- */
	ILI_CHECK(ILI9341_DrawBitmap1bpp(w - bw / 2, h / 2, bw, bh, bmpF, ILI9341_COLOR_BLACK, ILI9341_COLOR_WHITE));
	ILI_CHECK(ILI9341_DrawBitmap1bpp(w / 2, h - bh / 2, bw, bh, bmpF, ILI9341_COLOR_BLACK, ILI9341_COLOR_WHITE));

	/* -- Ancho múltiplo de 8: fila de caritas 16x16 en distintos colores sobre fondo azul marino -- */
	for (uint8_t i = 0; i < (uint8_t)(sizeof(colores) / sizeof(colores[0])); i++)
	{
		ILI_CHECK(ILI9341_DrawBitmap1bpp(20 + i * 34, 60, 16, 16, bmpSmiley, colores[i], ILI9341_COLOR_NAVY));
	}

	/* -- Color: rojo sobre un recuadro negro en el centro -- */
	ILI_CHECK(ILI9341_DrawFilledRectangle(w / 2 - bw, h / 2 - bh, w / 2 + bw - 1, h / 2 + bh - 1, ILI9341_COLOR_BLACK));
	ILI_CHECK(ILI9341_DrawBitmap1bpp(w / 2 - bw / 2, h / 2 - bh / 2, bw, bh, bmpF, ILI9341_COLOR_RED, ILI9341_COLOR_BLACK));

	/* -- Totalmente fuera de pantalla y w = 0: no dibujan nada y devuelven OK -- */
	ILI_CHECK(ILI9341_DrawBitmap1bpp(w, 0, bw, bh, bmpF, ILI9341_COLOR_RED, ILI9341_COLOR_BLACK));
	ILI_CHECK(ILI9341_DrawBitmap1bpp(0, h, bw, bh, bmpF, ILI9341_COLOR_RED, ILI9341_COLOR_BLACK));
	ILI_CHECK(ILI9341_DrawBitmap1bpp(0, 0, 0, bh, bmpF, ILI9341_COLOR_RED, ILI9341_COLOR_BLACK));

	/* -- Errores: bitmap NULL -- */
	ILI_EXPECT(ILI9341_DrawBitmap1bpp(0, 0, bw, bh, NULL, ILI9341_COLOR_RED, ILI9341_COLOR_BLACK), ILI9341_INVALID_PARAM);
}

static void ILI9341_TestRotacion(void)
{
	static const ILI9341_Orientation_t orientaciones[] = {
		ILI9341_Orientation_Portrait_1,
		ILI9341_Orientation_Landscape_1,
		ILI9341_Orientation_Portrait_2,
		ILI9341_Orientation_Landscape_2,
	};
	static char* const nombres[] = { "Portrait 1", "Landscape 1", "Portrait 2", "Landscape 2" };

	/* -- Rotación: marco pegado al borde, diagonal y nombre arriba a la izquierda en cada orientación.
	 *    La librería no expone el tamaño activo: las orientaciones impares (apaisadas) intercambian ancho y alto -- */
	for (uint8_t i = 0; i < 4; i++)
	{
		const uint16_t w = (i & 1U) ? ILI9341_HEIGHT : ILI9341_WIDTH;
		const uint16_t h = (i & 1U) ? ILI9341_WIDTH : ILI9341_HEIGHT;

		ILI_CHECK(ILI9341_Rotate(orientaciones[i]));
		ILI_CHECK(ILI9341_Fill(ILI9341_COLOR_NAVY));
		ILI_CHECK(ILI9341_DrawRectangle(0, 0, w - 1, h - 1, ILI9341_COLOR_WHITE));
		ILI_CHECK(ILI9341_DrawLine(0, 0, w - 1, h - 1, ILI9341_COLOR_YELLOW));
		ILI_CHECK(ILI9341_Puts(4, 4, nombres[i], &LCD_Font_11x18, ILI9341_COLOR_WHITE, ILI9341_COLOR_NAVY));
		HAL_Delay(1500);
	}

	/* Restaura la orientación vertical para el resto de los tests */
	ILI_CHECK(ILI9341_Rotate(ILI9341_Orientation_Portrait_1));
}

static void ILI9341_TestImagen(void)
{
	const uint16_t w = ILI9341_WIDTH;
	const uint16_t h = ILI9341_HEIGHT;

	ILI9341_TestMakeIcon();

	/* -- Imagen a pantalla completa desde flash (ErisRudeus.h, 240x320) enviada por DMA -- */
	ILI_CHECK(ILI9341_DisplayImage(0, 0, IMAGE_DATA_WIDTH, IMAGE_DATA_HEIGHT, image_data));
	HAL_Delay(2000);

	/* -- Icono de 48x48 en las 4 esquinas (tocan los bordes) -- */
	ILI_CHECK(ILI9341_Fill(ILI9341_COLOR_DARKSLATEGRAY));
	ILI_CHECK(ILI9341_DisplayImage(0, 0, TEST_ICON_W, TEST_ICON_H, Test_Icon));
	ILI_CHECK(ILI9341_DisplayImage(w - TEST_ICON_W, 0, TEST_ICON_W, TEST_ICON_H, Test_Icon));
	ILI_CHECK(ILI9341_DisplayImage(0, h - TEST_ICON_H, TEST_ICON_W, TEST_ICON_H, Test_Icon));
	ILI_CHECK(ILI9341_DisplayImage(w - TEST_ICON_W, h - TEST_ICON_H, TEST_ICON_W, TEST_ICON_H, Test_Icon));

	/* -- Recorte: a medio salir por la derecha y por abajo (sin error) -- */
	ILI_CHECK(ILI9341_DisplayImage(w - TEST_ICON_W / 2, h / 2, TEST_ICON_W, TEST_ICON_H, Test_Icon));
	ILI_CHECK(ILI9341_DisplayImage(w / 2, h - TEST_ICON_H / 2, TEST_ICON_W, TEST_ICON_H, Test_Icon));

	/* -- Totalmente fuera de pantalla y w = 0: no dibujan nada y devuelven OK -- */
	ILI_CHECK(ILI9341_DisplayImage(w, 0, TEST_ICON_W, TEST_ICON_H, Test_Icon));
	ILI_CHECK(ILI9341_DisplayImage(0, h, TEST_ICON_W, TEST_ICON_H, Test_Icon));
	ILI_CHECK(ILI9341_DisplayImage(0, 0, 0, TEST_ICON_H, Test_Icon));

	/* -- Tras DisplayImage() el SPI vuelve a 8 bits: el resto del driver funciona (cuadro amarillo en el centro) -- */
	ILI_CHECK(ILI9341_DrawFilledRectangle(w / 2 - 20, h / 2 - 20, w / 2 + 19, h / 2 + 19, ILI9341_COLOR_YELLOW));

	/* -- Errores: imagen NULL -- */
	ILI_EXPECT(ILI9341_DisplayImage(0, 0, TEST_ICON_W, TEST_ICON_H, NULL), ILI9341_INVALID_PARAM);
}

static void ILI9341_TestImageBuffer(void)
{
	const uint16_t bg = ILI9341_COLOR_DARKSLATEGRAY;
	/* Rejilla de 4 x 4 celdas de 60 px que empieza en y = 80 */
	const uint16_t c0 = 0, c1 = 60, c2 = 120, c3 = 180;
	const uint16_t r0 = 80, r1 = 140, r2 = 200, r3 = 260;
	uint32_t* fb = ILI9341_GetFrameBuffer();

	ILI9341_TestMakeIcon();

	/* -- Todo se dibuja fuera de pantalla, en el back buffer de la SDRAM, y se presenta con Flush() -- */
	if (fb == NULL)
	{
		Error_Handler();
	}
	ILI_CHECK(ILI9341_Fill_ImageBuffer(bg, fb));

	/* -- Texto en el frame buffer: Putc, Puts, Printf, PutsAligned y PrintfAligned -- */
	ILI_CHECK(ILI9341_Putc_ImageBuffer(0, 0, '#', &LCD_Font_16x26, ILI9341_COLOR_RED, fb));
	ILI_CHECK(ILI9341_Puts_ImageBuffer(16, 0, "ImageBuffer", &LCD_Font_16x26, ILI9341_COLOR_YELLOW, fb));
	ILI_CHECK(ILI9341_Printf_ImageBuffer(4, 30, &LCD_Font_7x10, ILI9341_COLOR_WHITE, fb,
										 "Printf %ux%u px", ILI9341_WIDTH, ILI9341_HEIGHT));
	ILI_CHECK(ILI9341_PutsAligned_ImageBuffer(2, ILI9341_WIDTH - 3, 44, ILI9341_ALIGN_RIGHT, "PutsAligned",
											  &LCD_Font_7x10, ILI9341_COLOR_CYAN, fb));
	ILI_CHECK(ILI9341_PrintfAligned_ImageBuffer(2, ILI9341_WIDTH - 3, 58, ILI9341_ALIGN_CENTER,
												&LCD_Font_7x10, ILI9341_COLOR_GREEN, fb, "PrintfAligned %u", 2U));

	/* -- Una primitiva por celda de la rejilla -- */
	for (uint16_t i = 0; i < 9; i++)
	{
		ILI_CHECK(ILI9341_DrawPixel_ImageBuffer(c0 + 4 + i * 6, r0 + 4 + i * 6, ILI9341_COLOR_YELLOW, fb));
	}
	ILI_CHECK(ILI9341_DrawLine_ImageBuffer(c1 + 4, r0 + 4, c1 + 55, r0 + 55, ILI9341_COLOR_CYAN, fb));
	ILI_CHECK(ILI9341_DrawThickLine_ImageBuffer(c2 + 4, r0 + 55, c2 + 55, r0 + 4, 6, ILI9341_COLOR_ORANGE, fb));
	ILI_CHECK(ILI9341_DrawRectangle_ImageBuffer(c3 + 4, r0 + 4, c3 + 55, r0 + 55, ILI9341_COLOR_WHITE, fb));

	ILI_CHECK(ILI9341_DrawFilledRectangle_ImageBuffer(c0 + 4, r1 + 4, c0 + 55, r1 + 55, ILI9341_COLOR_AQUAMARINE, fb));
	ILI_CHECK(ILI9341_DrawRoundRect_ImageBuffer(c1 + 4, r1 + 4, c1 + 55, r1 + 55, 14, ILI9341_COLOR_MAGENTA, fb));
	ILI_CHECK(ILI9341_DrawFilledRoundRect_ImageBuffer(c2 + 4, r1 + 4, c2 + 55, r1 + 55, 14, ILI9341_COLOR_GOLD, fb));
	ILI_CHECK(ILI9341_DrawCircle_ImageBuffer(c3 + 30, r1 + 30, 26, ILI9341_COLOR_LIME, fb));

	ILI_CHECK(ILI9341_DrawFilledCircle_ImageBuffer(c0 + 30, r2 + 30, 26, ILI9341_COLOR_DODGERBLUE, fb));
	ILI_CHECK(ILI9341_DrawTriangle_ImageBuffer(c1 + 30, r2 + 4, c1 + 4, r2 + 55, c1 + 55, r2 + 55, ILI9341_COLOR_PINK, fb));
	ILI_CHECK(ILI9341_DrawFilledTriangle_ImageBuffer(c2 + 30, r2 + 4, c2 + 4, r2 + 55, c2 + 55, r2 + 55, ILI9341_COLOR_VIOLET, fb));
	ILI_CHECK(ILI9341_DrawEllipse_ImageBuffer(c3 + 30, r2 + 30, 26, 16, ILI9341_COLOR_TURQUOISE, fb));

	ILI_CHECK(ILI9341_DrawFilledEllipse_ImageBuffer(c0 + 30, r3 + 30, 16, 26, ILI9341_COLOR_CORAL, fb));
	ILI_CHECK(ILI9341_DrawArc_ImageBuffer(c1 + 30, r3 + 30, 26, 14, 0.0f, 270.0f, ILI9341_COLOR_CHARTREUSE, fb));
	ILI_CHECK(ILI9341_DrawFilledArc_ImageBuffer(c2 + 30, r3 + 30, 26, 14, 0.0f, 270.0f, ILI9341_COLOR_ORANGERED, fb));

	/* -- BlitImage: copia el icono de 48x48 desde la RAM con DMA2D (celda 4,4) -- */
	ILI_CHECK(ILI9341_BlitImage(Test_Icon, c3 + 6, r3 + 6, TEST_ICON_W, TEST_ICON_H, fb));

	/* -- Píxel fuera de límites: se descarta en silencio y devuelve OK -- */
	ILI_CHECK(ILI9341_DrawPixel_ImageBuffer(1000, 1000, ILI9341_COLOR_RED, fb));

	/* -- Flush: intercambia los buffers y envía el frame por DMA SPI -- */
	ILI_CHECK(ILI9341_Flush());
	HAL_Delay(2000);

	/* -- Segundo frame: tras Flush el back buffer es el otro, hay que pedirlo de nuevo -- */
	fb = ILI9341_GetFrameBuffer();
	if (fb == NULL)
	{
		Error_Handler();
	}
	ILI_CHECK(ILI9341_Fill_ImageBuffer(ILI9341_COLOR_DARKMAGENTA, fb));
	ILI_CHECK(ILI9341_PrintfAligned_ImageBuffer(2, ILI9341_WIDTH - 3, 150, ILI9341_ALIGN_CENTER,
												&LCD_Font_16x26, ILI9341_COLOR_WHITE, fb, "FRAME 2 (SDRAM)"));
	ILI_CHECK(ILI9341_Flush());

	/* -- Sync: espera al DMA antes de volver a usar el SPI de forma directa -- */
	ILI_CHECK(ILI9341_Sync());
}

static void ILI9341_TestBitmapImageBuffer(void)
{
	const uint16_t bg = ILI9341_COLOR_DARKSLATEGRAY;
	uint32_t*       fb = ILI9341_GetFrameBuffer();
	const uint16_t* px;

	if (fb == NULL)
	{
		Error_Handler();
	}
	px = (const uint16_t*)fb;   /* Vista RGB565 del frame para releer píxeles */

	ILI_CHECK(ILI9341_Fill_ImageBuffer(bg, fb));
	ILI_CHECK(ILI9341_PutsAligned_ImageBuffer(2, ILI9341_WIDTH - 3, 6, ILI9341_ALIGN_CENTER, "Bitmap1bpp FB",
											  &LCD_Font_11x18, ILI9341_COLOR_WHITE, fb));

	/* -- Carita 16x16 y relectura: fila 0, col 5 es un bit a 1 (fg) y col 0 un bit a 0 (bg) -- */
	ILI_CHECK(ILI9341_DrawBitmap1bpp_ImageBuffer(20, 60, 16, 16, bmpSmiley, ILI9341_COLOR_YELLOW, ILI9341_COLOR_BLACK, fb));
	if ((px[(60U * ILI9341_WIDTH) + 25U] != ILI9341_COLOR_YELLOW) ||
		(px[(60U * ILI9341_WIDTH) + 20U] != ILI9341_COLOR_BLACK))
	{
		Error_Handler();
	}

	/* -- Rejilla de caritas 6 x 4 (estrés de escrituras en SDRAM) -- */
	for (uint8_t i = 0; i < 24; i++)
	{
		ILI_CHECK(ILI9341_DrawBitmap1bpp_ImageBuffer(20 + (i % 6) * 34, 100 + (i / 6) * 26, 16, 16, bmpSmiley,
													 ILI9341_Color565((uint8_t)(i * 10U), 255U, (uint8_t)(255U - i * 10U)),
													 ILI9341_COLOR_NAVY, fb));
	}

	/* -- Ancho no múltiplo de 8: la "F" de 12 px lleva 4 bits de relleno a 1; el píxel justo a su derecha (col 12) no se toca -- */
	ILI_CHECK(ILI9341_DrawBitmap1bpp_ImageBuffer(20, 220, 12, 12, bmpF, ILI9341_COLOR_WHITE, ILI9341_COLOR_DARKRED, fb));
	if (px[(220U * ILI9341_WIDTH) + 32U] != bg)
	{
		Error_Handler();
	}

	/* -- Recorte en la esquina inferior derecha, fuera de pantalla y w = 0: no fallan -- */
	ILI_CHECK(ILI9341_DrawBitmap1bpp_ImageBuffer(ILI9341_WIDTH - 8, ILI9341_HEIGHT - 8, 16, 16, bmpSmiley,
												 ILI9341_COLOR_GREEN, ILI9341_COLOR_BLACK, fb));
	ILI_CHECK(ILI9341_DrawBitmap1bpp_ImageBuffer(0, ILI9341_HEIGHT, 16, 16, bmpSmiley,
												 ILI9341_COLOR_RED, ILI9341_COLOR_BLACK, fb));
	ILI_CHECK(ILI9341_DrawBitmap1bpp_ImageBuffer(0, 0, 0, 16, bmpSmiley, ILI9341_COLOR_RED, ILI9341_COLOR_BLACK, fb));

	/* -- Errores: bitmap NULL y buffer NULL -- */
	ILI_EXPECT(ILI9341_DrawBitmap1bpp_ImageBuffer(0, 0, 16, 16, NULL, ILI9341_COLOR_RED, ILI9341_COLOR_BLACK, fb), ILI9341_INVALID_PARAM);
	ILI_EXPECT(ILI9341_DrawBitmap1bpp_ImageBuffer(0, 0, 16, 16, bmpSmiley, ILI9341_COLOR_RED, ILI9341_COLOR_BLACK, NULL), ILI9341_INVALID_PARAM);

	/* -- Presenta el frame y espera al DMA antes de volver al SPI directo -- */
	ILI_CHECK(ILI9341_Flush());
	HAL_Delay(2000);
	ILI_CHECK(ILI9341_Sync());
}

static void ILI9341_TestTouch(void)
{
	TP_STATE* tp;
	uint32_t  t0;

	ILI_CHECK(ILI9341_Fill(ILI9341_COLOR_BLACK));
	ILI_CHECK(ILI9341_PrintfAligned(2, ILI9341_WIDTH - 3, 60, ILI9341_ALIGN_CENTER, &LCD_Font_11x18,
									ILI9341_COLOR_WHITE, ILI9341_COLOR_BLACK, "TOUCH"));
	ILI_CHECK(ILI9341_PrintfAligned(2, ILI9341_WIDTH - 3, 90, ILI9341_ALIGN_CENTER, &LCD_Font_11x18,
									ILI9341_COLOR_GREEN, ILI9341_COLOR_BLACK, "toque la pantalla..."));

	/* -- TP_Config detecta y configura el STMPE811; TP_GetState devuelve el estado interno -- */
	ILI_CHECK(ILI9341_TP_Config());
	tp = ILI9341_TP_GetState();
	if (tp == NULL)
	{
		Error_Handler();
	}

	/* -- Ventana interactiva: cada toque dibuja un círculo rojo y muestra X, Y y Z (presión) -- */
	t0 = HAL_GetTick();
	while ((HAL_GetTick() - t0) < TEST_TOUCH_MS)
	{
		tp = ILI9341_TP_GetState();
		if (tp->TouchDetected)
		{
			ILI_CHECK(ILI9341_DrawFilledCircle((int16_t)tp->X, (int16_t)tp->Y, 12, ILI9341_COLOR_RED));
			ILI_CHECK(ILI9341_Printf(2, ILI9341_HEIGHT - 20, &LCD_Font_7x10, ILI9341_COLOR_WHITE, ILI9341_COLOR_BLACK,
									 "X=%3u Y=%3u Z=%3u", tp->X, tp->Y, tp->Z));
		}
		HAL_Delay(10);
	}
}

static void ILI9341_TestErrores(void)
{
	uint32_t* fb = ILI9341_GetFrameBuffer();
	const uint16_t w = ILI9341_WIDTH;
	const uint16_t h = ILI9341_HEIGHT;

	/* -- Cadena y formato NULL -- */
	ILI_EXPECT(ILI9341_Puts(0, 0, NULL, &LCD_Font_7x10, ILI9341_COLOR_WHITE, ILI9341_COLOR_BLACK), ILI9341_INVALID_PARAM);
	ILI_EXPECT(ILI9341_Puts(0, 0, "X", NULL, ILI9341_COLOR_WHITE, ILI9341_COLOR_BLACK), ILI9341_INVALID_PARAM);

	/* -- Radios negativos -- */
	ILI_EXPECT(ILI9341_DrawEllipse(w / 2, h / 2, -1, 4, ILI9341_COLOR_WHITE), ILI9341_INVALID_PARAM);
	ILI_EXPECT(ILI9341_DrawFilledEllipse(w / 2, h / 2, 4, -1, ILI9341_COLOR_WHITE), ILI9341_INVALID_PARAM);
	ILI_EXPECT(ILI9341_DrawArc(w / 2, h / 2, -1, 4, 0.0f, 90.0f, ILI9341_COLOR_WHITE), ILI9341_INVALID_PARAM);
	ILI_EXPECT(ILI9341_DrawFilledArc(w / 2, h / 2, 4, -1, 0.0f, 90.0f, ILI9341_COLOR_WHITE), ILI9341_INVALID_PARAM);

	/* -- Buffer NULL en las variantes de frame buffer, y puntero NULL en BlitImage -- */
	if (fb == NULL)
	{
		Error_Handler();
	}
	ILI_EXPECT(ILI9341_Fill_ImageBuffer(ILI9341_COLOR_RED, NULL), ILI9341_INVALID_PARAM);
	ILI_EXPECT(ILI9341_DrawPixel_ImageBuffer(0, 0, ILI9341_COLOR_RED, NULL), ILI9341_INVALID_PARAM);
	ILI_EXPECT(ILI9341_DrawArc_ImageBuffer(w / 2, h / 2, -1, 4, 0.0f, 90.0f, ILI9341_COLOR_RED, fb), ILI9341_INVALID_PARAM);
	ILI_EXPECT(ILI9341_BlitImage(NULL, 0, 0, TEST_ICON_W, TEST_ICON_H, fb), ILI9341_INVALID_PARAM);
	ILI_EXPECT(ILI9341_BlitImage(Test_Icon, 0, 0, TEST_ICON_W, TEST_ICON_H, NULL), ILI9341_INVALID_PARAM);

	/* -- Init con handles NULL: se rechaza antes de tocar el estado del driver -- */
	ILI_EXPECT(ILI9341_Init(NULL, &hi2c3, &hsdram2, &hdma2d), ILI9341_INVALID_PARAM);
	ILI_EXPECT(ILI9341_Init(&hspi5, NULL, &hsdram2, &hdma2d), ILI9341_INVALID_PARAM);

	ILI_CHECK(ILI9341_Fill(ILI9341_COLOR_DARKCYAN));
	ILI_CHECK(ILI9341_PrintfAligned(2, w - 3, 150, ILI9341_ALIGN_CENTER, &LCD_Font_16x26,
									ILI9341_COLOR_WHITE, ILI9341_COLOR_DARKCYAN, "Errores OK"));
}

static void ILI9341_TestPreInit(void)
{
	/* -- Antes de Init: todo debe devolver NOT_INITIALIZED (o NULL) sin tocar el bus -- */
	ILI_EXPECT(ILI9341_Fill(ILI9341_COLOR_WHITE), ILI9341_NOT_INITIALIZED);
	ILI_EXPECT(ILI9341_DrawPixel(0, 0, ILI9341_COLOR_WHITE), ILI9341_NOT_INITIALIZED);
	ILI_EXPECT(ILI9341_Putc(0, 0, 'X', &LCD_Font_7x10, ILI9341_COLOR_WHITE, ILI9341_COLOR_BLACK), ILI9341_NOT_INITIALIZED);
	ILI_EXPECT(ILI9341_Puts(0, 0, "X", &LCD_Font_7x10, ILI9341_COLOR_WHITE, ILI9341_COLOR_BLACK), ILI9341_NOT_INITIALIZED);
	ILI_EXPECT(ILI9341_Rotate(ILI9341_Orientation_Portrait_1), ILI9341_NOT_INITIALIZED);
	ILI_EXPECT(ILI9341_DisplayImage(0, 0, IMAGE_DATA_WIDTH, IMAGE_DATA_HEIGHT, image_data), ILI9341_NOT_INITIALIZED);
	ILI_EXPECT(ILI9341_Flush(), ILI9341_NOT_INITIALIZED);
	ILI_EXPECT(ILI9341_Sync(), ILI9341_NOT_INITIALIZED);
	ILI_EXPECT(ILI9341_TP_Config(), ILI9341_NOT_INITIALIZED);
	ILI_EXPECT(ILI9341_DeInit(), ILI9341_NOT_INITIALIZED);
	if ((ILI9341_GetFrameBuffer() != NULL) || (ILI9341_TP_GetState() != NULL))
	{
		Error_Handler();
	}
}

static void ILI9341_TestDeInit(void)
{
	/* -- DeInit libera los handles y apaga el FMC (HAL_SDRAM_DeInit): las llamadas posteriores
	 *    deben devolver NOT_INITIALIZED sin tocar el bus -- */
	ILI_CHECK(ILI9341_Fill(ILI9341_COLOR_RED));
	ILI_CHECK(ILI9341_PrintfAligned(2, ILI9341_WIDTH - 3, 150, ILI9341_ALIGN_CENTER, &LCD_Font_16x26,
									ILI9341_COLOR_WHITE, ILI9341_COLOR_RED, "DeInit"));
	HAL_Delay(1500);

	ILI_CHECK(ILI9341_DeInit());
	ILI_EXPECT(ILI9341_DeInit(), ILI9341_NOT_INITIALIZED);
	ILI_EXPECT(ILI9341_Fill(ILI9341_COLOR_BLACK), ILI9341_NOT_INITIALIZED);
	ILI_EXPECT(ILI9341_DrawPixel(0, 0, ILI9341_COLOR_BLACK), ILI9341_NOT_INITIALIZED);
	ILI_EXPECT(ILI9341_Rotate(ILI9341_Orientation_Portrait_1), ILI9341_NOT_INITIALIZED);
	ILI_EXPECT(ILI9341_Flush(), ILI9341_NOT_INITIALIZED);
	ILI_EXPECT(ILI9341_TP_Config(), ILI9341_NOT_INITIALIZED);
	if ((ILI9341_GetFrameBuffer() != NULL) || (ILI9341_TP_GetState() != NULL))
	{
		Error_Handler();
	}
	HAL_Delay(1500);

	/* -- Re-Init: DeInit dejó el FMC apagado y el SPI en velocidad alta; se vuelven a configurar con
	 *    sus MX_*_Init() (SPI lento, como exige Init) antes de arrancar el driver otra vez -- */
	MX_FMC_Init();
	MX_SPI5_Init();
	ILI_CHECK(ILI9341_Init(&hspi5, &hi2c3, &hsdram2, &hdma2d));
	ILI_CHECK(ILI9341_Fill(ILI9341_COLOR_BLACK));
	ILI_CHECK(ILI9341_PrintfAligned(2, ILI9341_WIDTH - 3, 150, ILI9341_ALIGN_CENTER, &LCD_Font_16x26,
									ILI9341_COLOR_GREEN, ILI9341_COLOR_BLACK, "Re-Init OK"));
}
/* USER CODE END 4 */

void Error_Handler(void)
{
  /* USER CODE BEGIN Error_Handler_Debug */
	/* User can add his own implementation to report the HAL error return state */
	while (1)
	{
		HAL_GPIO_TogglePin(LED_Rojo_GPIO_Port, LED_Rojo_Pin);
		HAL_Delay(200);
	}
  /* USER CODE END Error_Handler_Debug */
}
